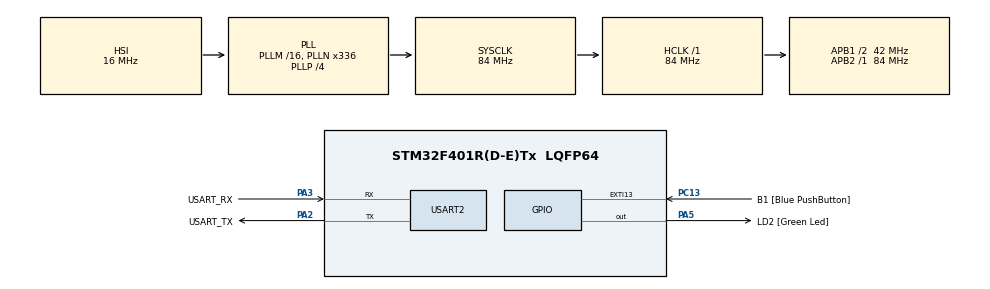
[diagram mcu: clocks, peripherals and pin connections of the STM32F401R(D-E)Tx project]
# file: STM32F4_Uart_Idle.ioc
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Dma.Request0=USART2_RX
Dma.Request1=USART2_TX
Dma.USART2_RX.0.Direction=DMA_PERIPH_TO_MEMORY
Dma.USART2_RX.0.FIFOMode=DMA_FIFOMODE_DISABLE
Dma.USART2_RX.0.Instance=DMA1_Stream5
Dma.USART2_RX.0.MemDataAlignment=DMA_MDATAALIGN_BYTE
Dma.USART2_RX.0.MemInc=DMA_MINC_ENABLE
Dma.USART2_RX.0.Mode=DMA_CIRCULAR
Dma.USART2_RX.0.PeriphDataAlignment=DMA_PDATAALIGN_BYTE
Dma.USART2_RX.0.PeriphInc=DMA_PINC_DISABLE
Dma.USART2_RX.0.Priority=DMA_PRIORITY_LOW
Dma.USART2_TX.1.Direction=DMA_MEMORY_TO_PERIPH
Dma.USART2_TX.1.FIFOMode=DMA_FIFOMODE_DISABLE
Dma.USART2_TX.1.Instance=DMA1_Stream6
Dma.USART2_TX.1.MemDataAlignment=DMA_MDATAALIGN_BYTE
Dma.USART2_TX.1.MemInc=DMA_MINC_ENABLE
Dma.USART2_TX.1.Mode=DMA_CIRCULAR
Dma.USART2_TX.1.PeriphDataAlignment=DMA_PDATAALIGN_BYTE
Dma.USART2_TX.1.PeriphInc=DMA_PINC_DISABLE
Dma.USART2_TX.1.Priority=DMA_PRIORITY_LOW
Mcu.Family=STM32F4
Mcu.Name=STM32F401R(D-E)Tx
Mcu.Package=LQFP64
NVIC.DMA1_Stream5_IRQn=true\:0\:0\:false\:false\:true\:false\:true
NVIC.DMA1_Stream6_IRQn=true\:0\:0\:false\:false\:true\:false\:true
NVIC.EXTI15_10_IRQn=true\:0\:0\:false\:false\:true\:true\:true
NVIC.PriorityGroup=NVIC_PRIORITYGROUP_0
NVIC.USART2_IRQn=true\:0\:0\:false\:false\:true\:true\:true
PA13.GPIO_Label=TMS
PA13.Signal=SYS_JTMS-SWDIO
PA14.GPIO_Label=TCK
PA14.Signal=SYS_JTCK-SWCLK
PA2.GPIO_Label=USART_TX
PA2.GPIO_Mode=GPIO_MODE_AF_PP
PA2.GPIO_PuPd=GPIO_NOPULL
PA2.GPIO_Speed=GPIO_SPEED_FREQ_LOW
PA2.Mode=Asynchronous
PA2.Signal=USART2_TX
PA3.GPIO_Label=USART_RX
PA3.GPIO_Mode=GPIO_MODE_AF_PP
PA3.GPIO_PuPd=GPIO_NOPULL
PA3.GPIO_Speed=GPIO_SPEED_FREQ_LOW
PA3.Mode=Asynchronous
PA3.Signal=USART2_RX
PA5.GPIO_Label=LD2 [Green Led]
PA5.GPIO_Mode=GPIO_MODE_OUTPUT_PP
PA5.GPIO_PuPd=GPIO_NOPULL
PA5.GPIO_Speed=GPIO_SPEED_FREQ_LOW
PA5.Signal=GPIO_Output
PB3.GPIO_Label=SWO
PB3.Signal=SYS_JTDO-SWO
PC13-ANTI_TAMP.GPIO_Label=B1 [Blue PushButton]
PC13-ANTI_TAMP.GPIO_ModeDefaultEXTI=GPIO_MODE_IT_FALLING
PC13-ANTI_TAMP.GPIO_PuPd=GPIO_NOPULL
PC13-ANTI_TAMP.Signal=GPXTI13
PC14-OSC32_IN.Signal=RCC_OSC32_IN
PC15-OSC32_OUT.Signal=RCC_OSC32_OUT
PH0\ -\ OSC_IN.Signal=RCC_OSC_IN
PH1\ -\ OSC_OUT.Signal=RCC_OSC_OUT
ProjectManager.HeapSize=0x200
ProjectManager.StackSize=0x400
ProjectManager.TargetToolchain=STM32CubeIDE
RCC.AHBFreq_Value=84000000
RCC.APB1CLKDivider=RCC_HCLK_DIV2
RCC.APB1Freq_Value=42000000
RCC.APB1TimFreq_Value=84000000
RCC.APB2Freq_Value=84000000
RCC.APB2TimFreq_Value=84000000
RCC.CortexFreq_Value=84000000
RCC.HCLKFreq_Value=84000000
RCC.HSE_VALUE=8000000
RCC.HSI_VALUE=16000000
RCC.LSE_VALUE=32768
RCC.PLLN=336
RCC.PLLP=RCC_PLLP_DIV4
RCC.PLLQ=7
RCC.SYSCLKFreq_VALUE=84000000
RCC.SYSCLKSource=RCC_SYSCLKSOURCE_PLLCLK
RCC.VCOOutputFreq_Value=336000000
USART2.VirtualMode=VM_ASYNC
board=NUCLEO-F401RE

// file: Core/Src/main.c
/* USER CODE BEGIN Header */
/**
  ******************************************************************************
  * @file           : main.c
  * @brief          : Main program body
  ******************************************************************************
  * @attention
  *
  * <h2><center>&copy; Copyright (c) 2021 STMicroelectronics.
  * All rights reserved.</center></h2>
  *
  * This software component is licensed by ST under BSD 3-Clause license,
  * the "License"; You may not use this file except in compliance with the
  * License. You may obtain a copy of the License at:
  *                        opensource.org/licenses/BSD-3-Clause
  *
  ******************************************************************************
  */
/* USER CODE END Header */
#include "main.h"

/* USER CODE BEGIN Includes */
#include "stdio.h"
/* USER CODE END Includes */

UART_HandleTypeDef huart2;
DMA_HandleTypeDef hdma_usart2_rx;
DMA_HandleTypeDef hdma_usart2_tx;

/* USER CODE BEGIN PV */
uint8_t aRxBuffer[20];
uint8_t inputData[20];
/* USER CODE END PV */

void SystemClock_Config(void);
static void MX_GPIO_Init(void);
static void MX_DMA_Init(void);
static void MX_USART2_UART_Init(void);
/* USER CODE BEGIN PFP */
#ifdef __GNUC__
/* With GCC/RAISONANCE, small printf (option LD Linker->Libraries->Small printf
   set to 'Yes') calls __io_putchar() */
#define PUTCHAR_PROTOTYPE int __io_putchar(int ch)
#else
#define PUTCHAR_PROTOTYPE int fputc(int ch, FILE *f)
#endif /* __GNUC__ */

/* USER CODE END PFP */

int main(void)
{

  /* MCU Configuration--------------------------------------------------------*/

  /* Reset of all peripherals, Initializes the Flash interface and the Systick. */
  HAL_Init();

  /* Configure the system clock */
  SystemClock_Config();

  /* Initialize all configured peripherals */
  MX_GPIO_Init();
  MX_DMA_Init();
  MX_USART2_UART_Init();
  /* USER CODE BEGIN 2 */
  HAL_Delay(1);

  printf("Testing Uart:\r\n");

  HAL_UARTEx_ReceiveToIdle_IT(&huart2, (uint8_t *)aRxBuffer, 20);
  __HAL_UART_ENABLE_IT(&huart2, UART_IT_IDLE);
  /* USER CODE END 2 */

  /* Infinite loop */
  while (1)
  {

  }
}

void SystemClock_Config(void)
{
  RCC_OscInitTypeDef RCC_OscInitStruct = {0};
  RCC_ClkInitTypeDef RCC_ClkInitStruct = {0};

  /** Configure the main internal regulator output voltage
  */
  __HAL_RCC_PWR_CLK_ENABLE();
  __HAL_PWR_VOLTAGESCALING_CONFIG(PWR_REGULATOR_VOLTAGE_SCALE2);
  /** Initializes the RCC Oscillators according to the specified parameters
  * in the RCC_OscInitTypeDef structure.
  */
  RCC_OscInitStruct.OscillatorType = RCC_OSCILLATORTYPE_HSI;
  RCC_OscInitStruct.HSIState = RCC_HSI_ON;
  RCC_OscInitStruct.HSICalibrationValue = RCC_HSICALIBRATION_DEFAULT;
  RCC_OscInitStruct.PLL.PLLState = RCC_PLL_ON;
  RCC_OscInitStruct.PLL.PLLSource = RCC_PLLSOURCE_HSI;
  RCC_OscInitStruct.PLL.PLLM = 16;
  RCC_OscInitStruct.PLL.PLLN = 336;
  RCC_OscInitStruct.PLL.PLLP = RCC_PLLP_DIV4;
  RCC_OscInitStruct.PLL.PLLQ = 7;
  if (HAL_RCC_OscConfig(&RCC_OscInitStruct) != HAL_OK)
  {
    Error_Handler();
  }
  /** Initializes the CPU, AHB and APB buses clocks
  */
  RCC_ClkInitStruct.ClockType = RCC_CLOCKTYPE_HCLK|RCC_CLOCKTYPE_SYSCLK
                              |RCC_CLOCKTYPE_PCLK1|RCC_CLOCKTYPE_PCLK2;
  RCC_ClkInitStruct.SYSCLKSource = RCC_SYSCLKSOURCE_PLLCLK;
  RCC_ClkInitStruct.AHBCLKDivider = RCC_SYSCLK_DIV1;
  RCC_ClkInitStruct.APB1CLKDivider = RCC_HCLK_DIV2;
  RCC_ClkInitStruct.APB2CLKDivider = RCC_HCLK_DIV1;

  if (HAL_RCC_ClockConfig(&RCC_ClkInitStruct, FLASH_LATENCY_2) != HAL_OK)
  {
    Error_Handler();
  }
}

static void MX_USART2_UART_Init(void)
{

  huart2.Instance = USART2;
  huart2.Init.BaudRate = 115200;
  huart2.Init.WordLength = UART_WORDLENGTH_8B;
  huart2.Init.StopBits = UART_STOPBITS_1;
  huart2.Init.Parity = UART_PARITY_NONE;
  huart2.Init.Mode = UART_MODE_TX_RX;
  huart2.Init.HwFlowCtl = UART_HWCONTROL_NONE;
  huart2.Init.OverSampling = UART_OVERSAMPLING_16;
  if (HAL_UART_Init(&huart2) != HAL_OK)
  {
    Error_Handler();
  }

}

static void MX_DMA_Init(void)
{

  /* DMA controller clock enable */
  __HAL_RCC_DMA1_CLK_ENABLE();

  /* DMA interrupt init */
  /* DMA1_Stream5_IRQn interrupt configuration */
  HAL_NVIC_SetPriority(DMA1_Stream5_IRQn, 0, 0);
  HAL_NVIC_EnableIRQ(DMA1_Stream5_IRQn);
  /* DMA1_Stream6_IRQn interrupt configuration */
  HAL_NVIC_SetPriority(DMA1_Stream6_IRQn, 0, 0);
  HAL_NVIC_EnableIRQ(DMA1_Stream6_IRQn);

}

static void MX_GPIO_Init(void)
{
  GPIO_InitTypeDef GPIO_InitStruct = {0};

  /* GPIO Ports Clock Enable */
  __HAL_RCC_GPIOC_CLK_ENABLE();
  __HAL_RCC_GPIOH_CLK_ENABLE();
  __HAL_RCC_GPIOA_CLK_ENABLE();
  __HAL_RCC_GPIOB_CLK_ENABLE();

  /*Configure GPIO pin Output Level */
  HAL_GPIO_WritePin(LD2_GPIO_Port, LD2_Pin, GPIO_PIN_RESET);

  /*Configure GPIO pin : B1_Pin */
  GPIO_InitStruct.Pin = B1_Pin;
  GPIO_InitStruct.Mode = GPIO_MODE_IT_FALLING;
  GPIO_InitStruct.Pull = GPIO_NOPULL;
  HAL_GPIO_Init(B1_GPIO_Port, &GPIO_InitStruct);

  /*Configure GPIO pin : LD2_Pin */
  GPIO_InitStruct.Pin = LD2_Pin;
  GPIO_InitStruct.Mode = GPIO_MODE_OUTPUT_PP;
  GPIO_InitStruct.Pull = GPIO_NOPULL;
  GPIO_InitStruct.Speed = GPIO_SPEED_FREQ_LOW;
  HAL_GPIO_Init(LD2_GPIO_Port, &GPIO_InitStruct);

  /* EXTI interrupt init*/
  HAL_NVIC_SetPriority(EXTI15_10_IRQn, 0, 0);
  HAL_NVIC_EnableIRQ(EXTI15_10_IRQn);

}

/* USER CODE BEGIN 4 */
/**
  * @brief  Retargets the C library printf function to the USART.
  * @param  None
  * @retval None
  */
PUTCHAR_PROTOTYPE
{
  /* Place your implementation of fputc here */
  /* e.g. write a character to the USART1 and Loop until the end of transmission */
  HAL_UART_Transmit_IT(&huart2, (uint8_t *)&ch, 1);
//  HAL_UART_Transmit()&huart3, (uint8_t *)&ch, 1, 0xFFFF);

  return ch;
}

/**
  * @brief Tx Transfer completed callback.
  * @param huart UART handle.
  * @retval None
  */

/**
  * @brief  Rx Half Transfer completed callback.
  * @param  huart UART handle.
  * @retval None
  */
void HAL_UART_RxHalfCpltCallback(UART_HandleTypeDef *huart)
{
  /* Prevent unused argument(s) compilation warning */
  UNUSED(huart);

  /* NOTE: This function should not be modified, when the callback is needed,
           the HAL_UART_RxHalfCpltCallback can be implemented in the user file.
   */
}

/**
  * @brief  UART error callback.
  * @param  huart UART handle.
  * @retval None
  */
void HAL_UART_ErrorCallback(UART_HandleTypeDef *huart)
{
  /* Prevent unused argument(s) compilation warning */
  printf("Error Callback...\r\n");

  /* NOTE : This function should not be modified, when the callback is needed,
            the HAL_UART_ErrorCallback can be implemented in the user file.
   */
}

/**
  * @brief  Reception Event Callback (Rx event notification called after use of advanced reception service).
  * @param  huart UART handle
  * @param  Size  Number of data available in application reception buffer (indicates a position in
  *               reception buffer until which, data are available)
  * @retval None
  */
void HAL_UARTEx_RxEventCallback(UART_HandleTypeDef *huart, uint16_t Size)
{
  /* Prevent unused argument(s) compilation warning */
	HAL_UART_Transmit_IT(&huart2, (uint8_t *)aRxBuffer, 20);
	HAL_UARTEx_ReceiveToIdle_IT(&huart2, (uint8_t *)aRxBuffer, 20);
	__HAL_UART_ENABLE_IT(&huart2, UART_IT_IDLE);

  /* NOTE : This functnio should not be modified, when the callback is needed,
            the HAL_UARTEx_RxEventCallback can be implemented in the user file.
   */
}
/* USER CODE END 4 */

void Error_Handler(void)
{
  __disable_irq();
  while (1)
  {
  }
}

/************************ (C) COPYRIGHT STMicroelectronics *****END OF FILE****/
